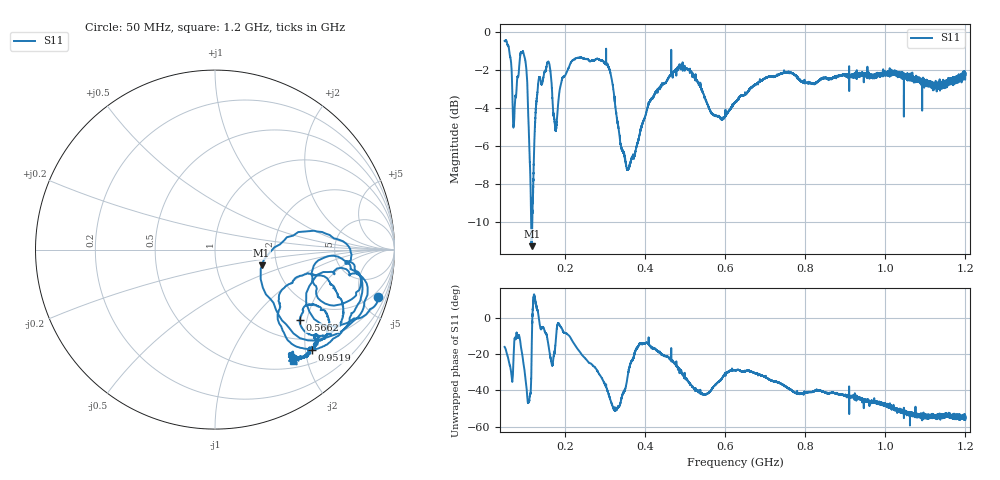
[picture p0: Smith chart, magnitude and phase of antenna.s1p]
! Calibrated high-resolution NanoVNA antenna measurement
# Hz S RI R 50
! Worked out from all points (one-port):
!   40001 points, 50 MHz to 1.2 GHz, reference 50 ohm
!   lowest |S11| = -11.3 dB at 117.6 MHz (marker M1), VSWR 1.75, Z = 83.1 - j15.8 ohm
!   |S11| at or under -10 dB: 116.2 MHz to 119 MHz (2.801 MHz wide, 2.38 % of centre); 119.0631 MHz to 119.1269 MHz (63.84 kHz wide, 0.0536 % of centre)
!   S11 on the Smith chart (normalised r, x): 50 MHz: 1.34, -6.85; 566.2 MHz: 1.45, -1.81; 951.9 MHz: 0.75, -2.14; 1.2 GHz: 0.49, -1.75
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5e7  0.9108 -0.2614
6.449e7  0.7611 -0.3935
7.170625e7  0.5077 -0.2429
8.205625e7  0.7504 -0.1343
9.378625e7  0.8311 -0.3003
1.051138e8  0.6029 -0.4966
1.1256e8  0.3379 -0.3203
1.175912e8  0.2591 -0.0879
1.250662e8  0.5355 0.1016
1.358475e8  0.7556 -0.0119
1.568638e8  0.8153 -0.1676
1.656038e8  0.7064 -0.3024
1.756375e8  0.5427 -0.1684
1.9375e8  0.7491 -0.082
2.819262e8  0.7412 -0.414
3.159662e8  0.5251 -0.5549
3.375e8  0.3526 -0.3919
3.58315e8  0.376 -0.2227
3.875825e8  0.5264 -0.133
4.8125e8  0.7149 -0.3642
5.228512e8  0.595 -0.4807
5.662062e8  0.4719 -0.3897
6.25e8  0.5727 -0.3139
7.6875e8  0.5927 -0.5042
9.125e8  0.5534 -0.5279
9.519162e8  0.5422 -0.5587
1.05625e9  0.4594 -0.6098
1.2e9  0.4345 -0.6629
